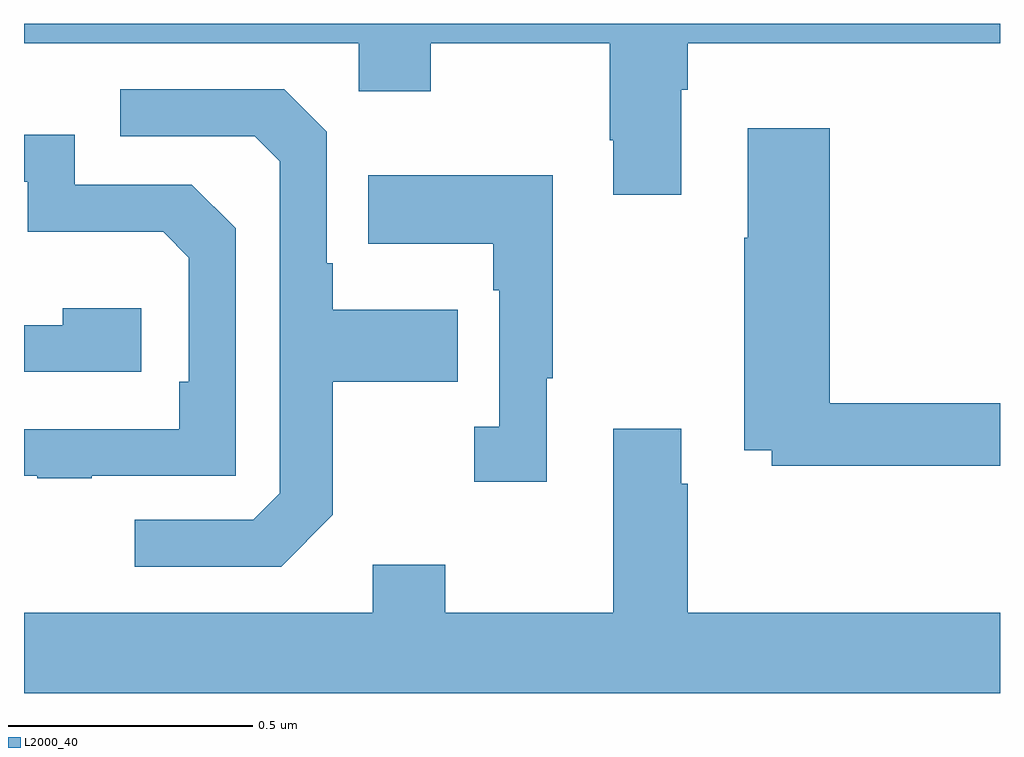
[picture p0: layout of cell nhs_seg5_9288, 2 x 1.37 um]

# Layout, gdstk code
import gdstk
lib = gdstk.Library(unit=1e-6, precision=1e-09)
def P(c, l, *ps):  # polygons
    for p in ps: c.add(gdstk.Polygon(p, *l))
L2000_40 = (2000, 40)

nhs_seg5_9288 = lib.new_cell('nhs_seg5_9288')
P(nhs_seg5_9288, L2000_40, [(233.347,856.664),(233.36,856.664),(233.36,856.76),(234,856.76),(234,856.799),(232,856.799),(232,856.76),(232.686,856.76),(232.686,856.661),(232.833,856.661),(232.833,856.76),(233.2,856.76),(233.2,856.561),(233.207,856.561),(233.207,856.449),(233.347,856.449)],
  [(232.633,855.793),(232.633,856.066),(232.889,856.066),(232.889,856.213),(232.633,856.213),(232.633,856.309),(232.62,856.309),(232.62,856.578),(232.533,856.665),(232.197,856.665),(232.197,856.569),(232.473,856.569),(232.524,856.518),(232.524,855.837),(232.47,855.783),(232.227,855.783),(232.227,855.687),(232.527,855.687)],
  [(234,856.022),(233.651,856.022),(233.651,856.585),(233.483,856.585),(233.483,856.361),(233.476,856.361),(233.476,855.926),(233.532,855.926),(233.532,855.894),(234,855.894)],
  [(232.139,855.873),(232.434,855.873),(232.434,856.38),(232.344,856.47),(232.104,856.47),(232.104,856.572),(232,856.572),(232,856.476),(232.008,856.476),(232.008,856.373),(232.285,856.373),(232.338,856.32),(232.338,856.066),(232.318,856.066),(232.318,855.969),(232,855.969),(232,855.873),(232.027,855.873),(232.027,855.868),(232.139,855.868)],
  [(233.071,856.073),(233.083,856.073),(233.083,856.489),(232.705,856.489),(232.705,856.349),(232.962,856.349),(232.962,856.253),(232.974,856.253),(232.974,855.974),(232.923,855.974),(232.923,855.861),(233.071,855.861)],
  [(232.24,856.216),(232.079,856.216),(232.079,856.182),(232,856.182),(232,856.086),(232.24,856.086)],
  [(234,855.592),(233.36,855.592),(233.36,855.857),(233.347,855.857),(233.347,855.97),(233.207,855.97),(233.207,855.592),(232.863,855.592),(232.863,855.691),(232.715,855.691),(232.715,855.592),(232,855.592),(232,855.428),(234,855.428)])

lib.write_gds('nhs_seg5_9288.gds')
